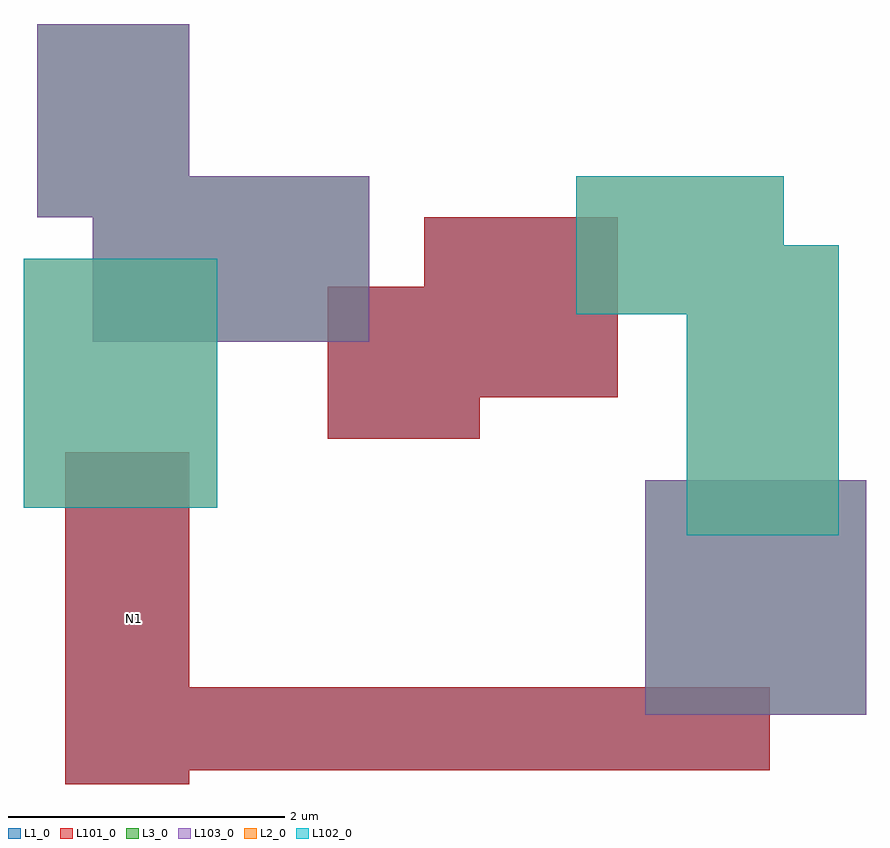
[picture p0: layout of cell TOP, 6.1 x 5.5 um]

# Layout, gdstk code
import gdstk
lib = gdstk.Library(unit=1e-6, precision=1e-09)
def R(c, l, rs):  # rectangles x0, y0, x1, y1
    for r in rs: c.add(gdstk.rectangle(r[:2], r[2:], *l))
L1_0 = (1, 0)
L2_0 = (2, 0)
L3_0 = (3, 0)
L101_0 = (101, 0)
L102_0 = (102, 0)
L103_0 = (103, 0)

top = lib.new_cell('TOP')
R(top, L1_0, [(-2.7,-3.3,-1.8,-0.9), (-2.1,-3.2,2.4,-2.6), (-0.8,-0.8,0.3,0.3), (-0.1,-0.5,1.3,0.8)])
R(top, L2_0, [(1.8,-1.5,2.9,0.6), (-3,-1.3,-1.6,0.5), (1,0.1,2.5,1.1)])
R(top, L3_0, [(1.5,-2.8,3.1,-1.1), (-2.5,-0.1,-0.5,1.1), (-2.9,0.8,-1.8,2.2)])
R(top, L101_0, [(-2.7,-3.3,-1.8,-0.9), (-2.1,-3.2,2.4,-2.6), (-0.8,-0.8,0.3,0.3), (-0.1,-0.5,1.3,0.8)])
R(top, L102_0, [(1.8,-1.5,2.9,0.6), (-3,-1.3,-1.6,0.5), (1,0.1,2.5,1.1)])
R(top, L103_0, [(1.5,-2.8,3.1,-1.1), (-2.5,-0.1,-0.5,1.1), (-2.9,0.8,-1.8,2.2)])
top.add(gdstk.Label('N1', (-2.2,-2.1), layer=1, texttype=0))

lib.write_gds('TOP.gds')
